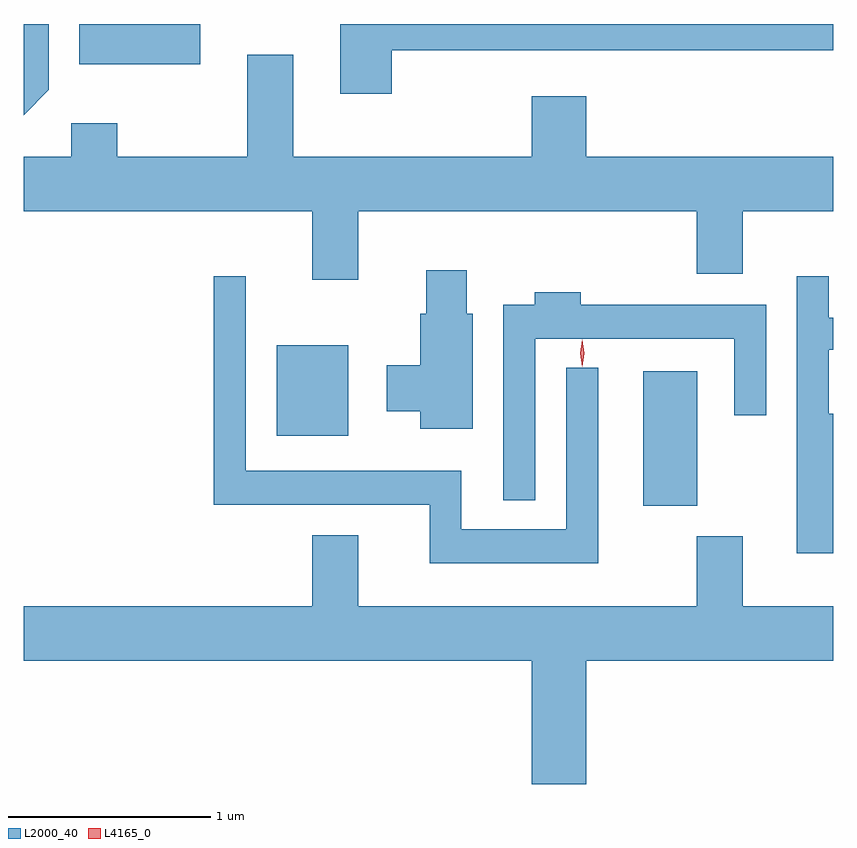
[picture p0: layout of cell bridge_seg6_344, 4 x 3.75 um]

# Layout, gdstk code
import gdstk
lib = gdstk.Library(unit=1e-6, precision=1e-09)
def R(c, l, rs):  # rectangles x0, y0, x1, y1
    for r in rs: c.add(gdstk.rectangle(r[:2], r[2:], *l))
def P(c, l, *ps):  # polygons
    for p in ps: c.add(gdstk.Polygon(p, *l))
L2000_40 = (2000, 40)
L4165_0 = (4165, 0)

bridge_seg6_344 = lib.new_cell('bridge_seg6_344')
R(bridge_seg6_344, L2000_40, [(1294.546,1537.481,1294.814,1538.144), (1292.736,1537.826,1293.089,1538.274), (1291.761,1539.661,1292.359,1539.86)])
P(bridge_seg6_344, L2000_40, [(1291.609,1539.534),(1291.609,1539.86),(1291.486,1539.86),(1291.486,1539.41)],
  [(1293.304,1539.731),(1295.486,1539.731),(1295.486,1539.86),(1293.051,1539.86),(1293.051,1539.516),(1293.304,1539.516)],
  [(1293.139,1538.936),(1294.811,1538.936),(1294.811,1538.626),(1295.039,1538.626),(1295.039,1538.936),(1295.486,1538.936),(1295.486,1539.204),(1294.264,1539.204),(1294.264,1539.504),(1293.996,1539.504),(1293.996,1539.204),(1292.819,1539.204),(1292.819,1539.709),(1292.591,1539.709),(1292.591,1539.204),(1291.949,1539.204),(1291.949,1539.369),(1291.721,1539.369),(1291.721,1539.204),(1291.486,1539.204),(1291.486,1538.936),(1292.911,1538.936),(1292.911,1538.596),(1293.139,1538.596)],
  [(1293.704,1538.429),(1293.674,1538.429),(1293.674,1538.644),(1293.476,1538.644),(1293.476,1538.429),(1293.446,1538.429),(1293.446,1538.174),(1293.281,1538.174),(1293.281,1537.946),(1293.446,1537.946),(1293.446,1537.861),(1293.704,1537.861)],
  [(1294.324,1538.163),(1294.166,1538.163),(1294.166,1537.364),(1293.649,1537.364),(1293.649,1537.654),(1292.584,1537.654),(1292.584,1538.613),(1292.426,1538.613),(1292.426,1537.486),(1293.491,1537.486),(1293.491,1537.196),(1294.324,1537.196)],
  [(1295.486,1537.934),(1295.464,1537.934),(1295.464,1538.251),(1295.486,1538.251),(1295.486,1538.409),(1295.464,1538.409),(1295.464,1538.613),(1295.306,1538.613),(1295.306,1537.246),(1295.486,1537.246)],
  [(1294.014,1538.306),(1294.996,1538.306),(1294.996,1537.928),(1295.154,1537.928),(1295.154,1538.474),(1294.239,1538.474),(1294.239,1538.534),(1294.011,1538.534),(1294.011,1538.474),(1293.856,1538.474),(1293.856,1537.508),(1294.014,1537.508)],
  [(1294.264,1536.716),(1295.486,1536.716),(1295.486,1536.984),(1295.039,1536.984),(1295.039,1537.329),(1294.811,1537.329),(1294.811,1536.984),(1293.139,1536.984),(1293.139,1537.334),(1292.911,1537.334),(1292.911,1536.984),(1291.486,1536.984),(1291.486,1536.716),(1293.996,1536.716),(1293.996,1536.106),(1294.264,1536.106)])
P(bridge_seg6_344, L4165_0, [(1294.245,1538.167),(1294.245,1538.167),(1294.235,1538.234),(1294.245,1538.3),(1294.245,1538.301),(1294.246,1538.3),(1294.255,1538.234),(1294.246,1538.167)])

lib.write_gds('bridge_seg6_344.gds')
